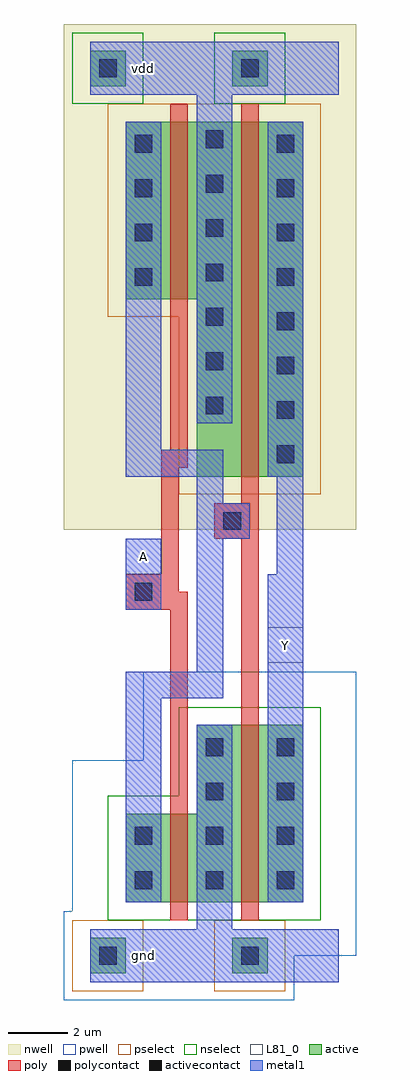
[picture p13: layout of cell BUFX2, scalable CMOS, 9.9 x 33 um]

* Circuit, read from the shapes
.subckt BUFX2 A Y gnd vdd
M1 gnd A n1 gnd nfet w=3u l=0.6u
M2 Y n1 gnd gnd nfet w=6u l=0.6u
M3 vdd A n1 vdd pfet w=6u l=0.6u
M4 Y n1 vdd vdd pfet w=12u l=0.6u
.ends

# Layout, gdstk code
import gdstk
lib = gdstk.Library(unit=1e-6, precision=1e-09)
def R(c, l, rs):  # rectangles x0, y0, x1, y1
    for r in rs: c.add(gdstk.rectangle(r[:2], r[2:], *l))
def A(c, l, x, y, w, h, nx, ny, dx, dy):  # array of equal rectangles
    R(c, l, [(x+i*dx, y+j*dy, x+i*dx+w, y+j*dy+h) for i in range(nx) for j in range(ny)])
pwell = (41, 0)
nwell = (42, 0)
active = (43, 0)
pselect = (44, 0)
nselect = (45, 0)
poly = (46, 0)
polycontact = (47, 0)
activecontact = (48, 0)
metal1 = (49, 0)
L81_0 = (81, 0)

bufx2 = lib.new_cell('BUFX2')
R(bufx2, pwell, [(-1.5,-1.5,6.3,0), (-1.5,0,8.4,1.5), (-1.2,1.5,8.4,6.6), (1.2,6.6,8.4,9.6)])
R(bufx2, nwell, [(-1.5,14.4,8.4,31.5)])
R(bufx2, active, [(-0.6,-0.6,0.6,0.6), (4.2,-0.6,5.4,0.6), (0.6,1.8,6.6,4.8), (3,4.8,6.6,7.8), (3,16.2,6.6,22.2), (0.6,22.2,6.6,28.2), (-0.6,29.4,0.6,30.6), (4.2,29.4,5.4,30.6)])
R(bufx2, pselect, [(-1.2,-1.2,1.2,1.2), (3.6,-1.2,6,1.2), (2.4,15.6,7.2,21.6), (0,21.6,7.2,28.8)])
R(bufx2, nselect, [(0,1.2,7.2,5.4), (2.4,5.4,7.2,8.4), (-1.2,28.8,1.2,31.2), (3.6,28.8,6,31.2)])
R(bufx2, poly, [(2.1,1.2,2.7,11.7), (4.5,1.2,5.1,14.1), (0.6,11.7,2.7,12.3), (0.6,12.3,2.4,12.9), (1.8,12.9,2.4,16.5), (3.6,14.1,5.1,15.3), (4.5,15.3,5.1,28.8), (1.8,16.5,2.7,17.1), (2.1,17.1,2.7,28.8)])
R(bufx2, polycontact, [(0.9,12,1.5,12.6), (3.9,14.4,4.5,15)])
A(bufx2, activecontact, 0.9, 2.25, 0.6, 0.6, 3, 2, 2.4, 1.5)
A(bufx2, activecontact, 5.7, 16.65, 0.6, 0.6, 1, 8, 0, 1.5)
A(bufx2, activecontact, 3.3, 18.3, 0.6, 0.6, 1, 7, 0, 1.5)
A(bufx2, activecontact, 0.9, 22.65, 0.6, 0.6, 1, 4, 0, 1.5)
R(bufx2, activecontact, [(-0.3,-0.3,0.3,0.3), (4.5,-0.3,5.1,0.3), (3.3,5.25,3.9,5.85), (5.7,5.25,6.3,5.85), (3.3,6.75,3.9,7.35), (5.7,6.75,6.3,7.35), (-0.3,29.7,0.3,30.3), (4.5,29.7,5.1,30.3)])
R(bufx2, metal1, [(-0.6,-0.9,7.8,0.9), (3,0.9,4.2,7.8), (0.6,1.8,1.8,8.7), (5.4,1.8,6.6,12.9), (0.6,8.7,3.9,9.6), (3,9.6,3.9,14.1), (0.6,11.7,1.8,14.1), (5.7,12.9,6.6,16.2), (3,14.1,4.8,15.3), (3,15.3,3.9,16.2), (0.6,16.2,3.9,17.1), (5.4,16.2,6.6,28.2), (0.6,17.1,1.8,28.2), (3,18,4.2,29.1), (-0.6,29.1,7.8,30.9)])
R(bufx2, L81_0, [(5.4,9.9,6.6,11.1), (0.6,12.9,1.8,14.1)])
bufx2.add(gdstk.Label('vdd', (1.2,30), layer=49, texttype=0))
bufx2.add(gdstk.Label('gnd', (1.2,0), layer=49, texttype=0))
bufx2.add(gdstk.Label('A', (1.2,13.5), layer=49, texttype=0))
bufx2.add(gdstk.Label('Y', (6,10.5), layer=49, texttype=0))

lib.write_gds('BUFX2.gds')
